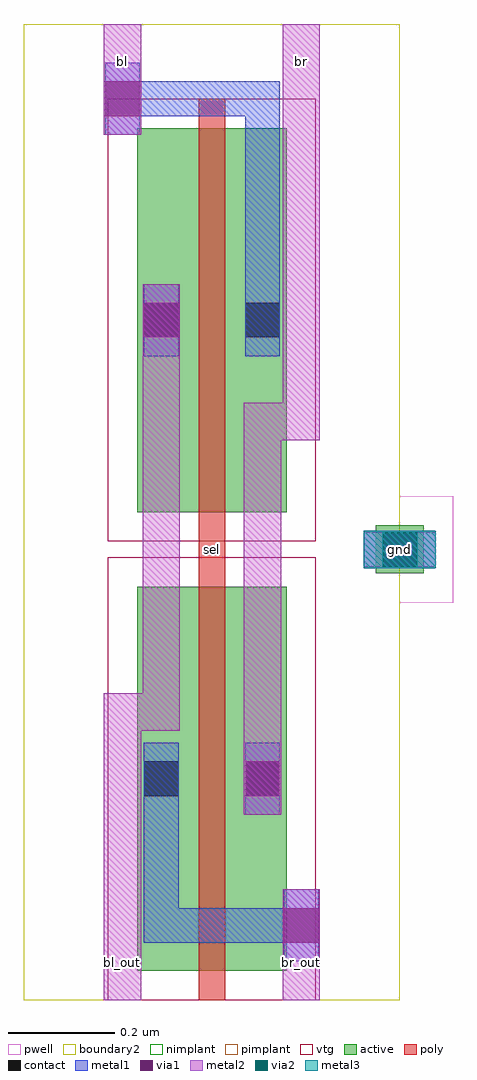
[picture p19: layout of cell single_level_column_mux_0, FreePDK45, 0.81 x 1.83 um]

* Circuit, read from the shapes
.subckt single_level_column_mux_0 bl bl_out br br_out gnd sel
M1 br sel br_out gnd nfet w=0.72u l=0.05u
M2 bl sel bl_out gnd nfet w=0.72u l=0.05u
.ends

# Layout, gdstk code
import gdstk
lib = gdstk.Library(unit=1e-6, precision=5e-10)
def R(c, l, rs):  # rectangles x0, y0, x1, y1
    for r in rs: c.add(gdstk.rectangle(r[:2], r[2:], *l))
active = (1, 0)
pwell = (2, 0)
nimplant = (4, 0)
pimplant = (5, 0)
vtg = (6, 0)
poly = (9, 0)
contact = (10, 0)
metal1 = (11, 0)
via1 = (12, 0)
metal2 = (13, 0)
via2 = (14, 0)
metal3 = (15, 0)
boundary2 = (239, 0)

contact_16 = lib.new_cell('contact_16')
R(contact_16, active, [(0,0.0225,0.09,0.1125)])
R(contact_16, pwell, [(-0.055,-0.0325,0.145,0.1675)])
R(contact_16, nimplant, [(0,0.0225,0.09,0.1125)])
R(contact_16, contact, [(0.0125,0.035,0.0775,0.1)])
R(contact_16, metal1, [(0.0125,0,0.0775,0.135)])

nmos_m1_w0_720 = lib.new_cell('nmos_m1_w0_720')
R(nmos_m1_w0_720, active, [(0,0,0.28,0.72)])
R(nmos_m1_w0_720, pwell, [(-0.055,-0.055,0.335,0.775)])
R(nmos_m1_w0_720, nimplant, [(0,0,0.28,0.72)])
R(nmos_m1_w0_720, vtg, [(-0.055,-0.055,0.335,0.775)])
R(nmos_m1_w0_720, poly, [(0.115,-0.055,0.165,0.775), (0.115,-0.055,0.165,0.775)])
R(nmos_m1_w0_720, metal1, [(0.0125,0.2925,0.0775,0.4275), (0.2025,0.2925,0.2675,0.4275)])
R(nmos_m1_w0_720, boundary2, [(-0.055,-0.055,0.335,0.775)])
nmos_m1_w0_720.add(gdstk.Reference(contact_16, (0,0.2925)))
nmos_m1_w0_720.add(gdstk.Reference(contact_16, (0.19,0.2925)))
nmos_m1_w0_720.add(gdstk.Label('G', (0.14,0.36), layer=9, texttype=0))
nmos_m1_w0_720.add(gdstk.Label('S', (0.045,0.36), layer=11, texttype=0))
nmos_m1_w0_720.add(gdstk.Label('D', (0.235,0.36), layer=11, texttype=0))

contact_14 = lib.new_cell('contact_14')
R(contact_14, metal1, [(0.0025,0,0.0675,0.135)])
R(contact_14, via1, [(0.0025,0.035,0.0675,0.1)])
R(contact_14, metal2, [(0,0,0.07,0.135)])

contact_17 = lib.new_cell('contact_17')
R(contact_17, active, [(0.0225,0,0.1125,0.09)])
R(contact_17, pwell, [(-0.0325,-0.055,0.1675,0.145)])
R(contact_17, pimplant, [(0.0225,0,0.1125,0.09)])
R(contact_17, contact, [(0.035,0.0125,0.1,0.0775)])
R(contact_17, metal1, [(0,0.0125,0.135,0.0775)])

contact_7 = lib.new_cell('contact_7')
R(contact_7, metal1, [(0,0.0025,0.135,0.0675)])
R(contact_7, via1, [(0.035,0.0025,0.1,0.0675)])
R(contact_7, metal2, [(0,0,0.135,0.07)])

contact_8 = lib.new_cell('contact_8')
R(contact_8, metal2, [(0,0,0.135,0.07)])
R(contact_8, via2, [(0.035,0.0025,0.1,0.0675)])
R(contact_8, metal3, [(0,0,0.135,0.07)])

single_level_column_mux_ = lib.new_cell('single_level_column_mux_0')
R(single_level_column_mux_, pwell, [(0,0,0.705,1.83)])
R(single_level_column_mux_, poly, [(0.3275,0,0.3775,1.69)])
R(single_level_column_mux_, metal1, [(0.225,0.1075,0.29,0.1725), (0.2575,0.1075,0.52,0.1725), (0.225,0.14,0.29,0.415), (0.415,1.275,0.48,1.69), (0.15,1.6575,0.4475,1.7225), (0.415,1.6575,0.48,1.7225)])
R(single_level_column_mux_, metal2, [(0.15,0,0.22,0.14), (0.485,0,0.555,0.14), (0.15,0.14,0.22,0.54), (0.4125,0.4825,0.4825,1.085), (0.15,0.505,0.22,0.575), (0.185,0.505,0.2575,0.575), (0.2225,0.505,0.2925,0.575), (0.2225,0.54,0.2925,1.2075), (0.4125,1.05,0.4825,1.12), (0.4475,1.05,0.52,1.12), (0.485,1.05,0.555,1.12), (0.485,1.085,0.555,1.69), (0.15,1.69,0.22,1.83), (0.485,1.69,0.555,1.83)])
R(single_level_column_mux_, metal3, [(0.6375,0.81,0.7725,0.88)])
R(single_level_column_mux_, boundary2, [(0,0,0.705,1.83)])
single_level_column_mux_.add(gdstk.Reference(nmos_m1_w0_720, (0.2125,0.055)))
single_level_column_mux_.add(gdstk.Reference(nmos_m1_w0_720, (0.2125,0.915)))
single_level_column_mux_.add(gdstk.Reference(contact_14, (0.15,1.6225)))
single_level_column_mux_.add(gdstk.Reference(contact_14, (0.485,0.0725)))
single_level_column_mux_.add(gdstk.Reference(contact_14, (0.2225,1.2075)))
single_level_column_mux_.add(gdstk.Reference(contact_14, (0.4125,0.3475)))
single_level_column_mux_.add(gdstk.Reference(contact_17, (0.6375,0.8)))
single_level_column_mux_.add(gdstk.Reference(contact_7, (0.6375,0.81)))
single_level_column_mux_.add(gdstk.Reference(contact_8, (0.6375,0.81)))
single_level_column_mux_.add(gdstk.Label('sel', (0.3525,0.845), layer=9, texttype=0))
single_level_column_mux_.add(gdstk.Label('bl', (0.185,1.76), layer=13, texttype=0))
single_level_column_mux_.add(gdstk.Label('br', (0.52,1.76), layer=13, texttype=0))
single_level_column_mux_.add(gdstk.Label('bl_out', (0.185,0.07), layer=13, texttype=0))
single_level_column_mux_.add(gdstk.Label('br_out', (0.52,0.07), layer=13, texttype=0))
single_level_column_mux_.add(gdstk.Label('gnd', (0.705,0.845), layer=15, texttype=0))

lib.write_gds('single_level_column_mux_0.gds')
